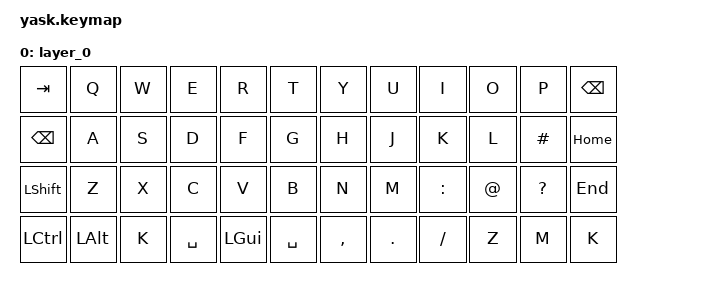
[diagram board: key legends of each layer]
#include <behaviors.dtsi>
#include <dt-bindings/zmk/keys.h>

/ {
    keymap {
        compatible = "zmk,keymap";

        layer_0 { // Layer 0
            bindings = <
                &kp TAB    &kp Q    &kp W    &kp E    &kp R    &kp T    &kp Y    &kp U    &kp I    &kp O    &kp P    &kp BSPC
                &kp BSPC    &kp A    &kp S    &kp D    &kp F    &kp G    &kp H    &kp J    &kp K    &kp L    &kp HASH    &kp HOME
                &kp LSHFT    &kp Z    &kp X    &kp C    &kp V    &kp B    &kp N    &kp M    &kp COLON    &kp AT    &kp QUESTION    &kp END
                &kp LCTRL    &kp LALT    &kp K    &kp SPACE    &kp LGUI    &kp SPC    &kp COMMA    &kp DOT    &kp FSLH    &kp Z    &kp M    &kp K
            >;
        };
    };
};
